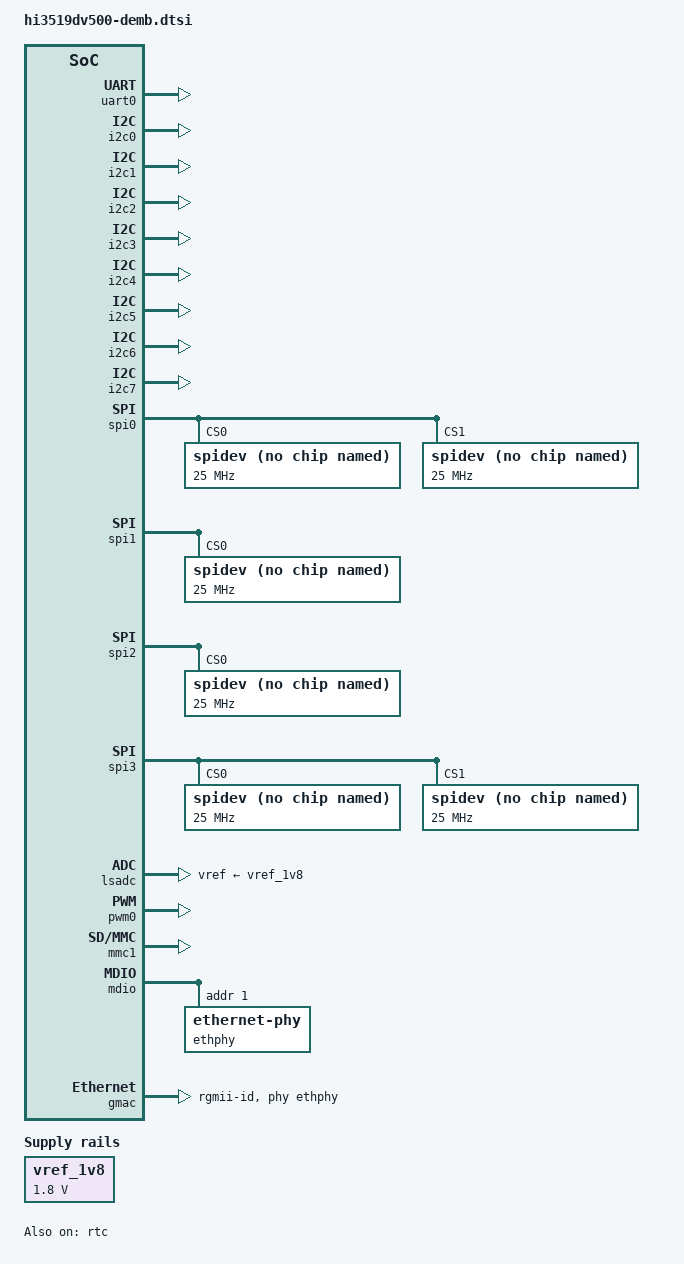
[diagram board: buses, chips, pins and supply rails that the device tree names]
// SPDX-License-Identifier: GPL-2.0-only OR BSD-2-Clause

/*
 * Common part of the HiSilicon Hi3519DV500 DEMB evaluation boards.
 * The board carries the console UART, the RTC, the eight I2C buses,
 * the GPIO banks, the four SPI buses with their native chip selects,
 * the LSADC, the first PWM block, the SD card slot
 * and the RGMII Ethernet port with its PHY on the MDIO bus.  It
 * boots from either the SPI NOR flash or the eMMC, which share the
 * serial flash pads, so the boot variant dts files enable exactly
 * one of the two devices.
 */

#include "hi3519dv500.dtsi"

/ {
	vref_1v8: regulator-1v8 {
		compatible = "regulator-fixed";
		regulator-name = "lsadc-vref";
		regulator-min-microvolt = <1800000>;
		regulator-max-microvolt = <1800000>;
	};
};

&uart0 {
	status = "okay";
};

&rtc {
	status = "okay";
};

&i2c0 {
	status = "okay";
};

&i2c1 {
	status = "okay";
};

&i2c2 {
	status = "okay";
};

&i2c3 {
	status = "okay";
};

&i2c4 {
	status = "okay";
};

&i2c5 {
	status = "okay";
};

&i2c6 {
	status = "okay";
};

&i2c7 {
	status = "okay";
};

&gpio0 {
	status = "okay";
};

&gpio1 {
	status = "okay";
};

&gpio2 {
	status = "okay";
};

&gpio3 {
	status = "okay";
};

&gpio4 {
	status = "okay";
};

&gpio5 {
	status = "okay";
};

&gpio6 {
	status = "okay";
};

&gpio7 {
	status = "okay";
};

&gpio8 {
	status = "okay";
};

&gpio9 {
	status = "okay";
};

&gpio10 {
	status = "okay";
};

&gpio11 {
	status = "okay";
};

&gpio12 {
	status = "okay";
};

&gpio13 {
	status = "okay";
};

&gpio14 {
	status = "okay";
};

&spi0 {
	status = "okay";

	spidev@0 {
		compatible = "rohm,dh2228fv";
		reg = <0>;
		spi-max-frequency = <25000000>;
	};

	spidev@1 {
		compatible = "rohm,dh2228fv";
		reg = <1>;
		spi-max-frequency = <25000000>;
	};
};

&spi1 {
	status = "okay";

	spidev@0 {
		compatible = "rohm,dh2228fv";
		reg = <0>;
		spi-max-frequency = <25000000>;
	};
};

&spi2 {
	status = "okay";

	spidev@0 {
		compatible = "rohm,dh2228fv";
		reg = <0>;
		spi-max-frequency = <25000000>;
	};
};

&spi3 {
	status = "okay";

	spidev@0 {
		compatible = "rohm,dh2228fv";
		reg = <0>;
		spi-max-frequency = <25000000>;
	};

	spidev@1 {
		compatible = "rohm,dh2228fv";
		reg = <1>;
		spi-max-frequency = <25000000>;
	};
};

&lsadc {
	vref-supply = <&vref_1v8>;
	status = "okay";
};

&pwm0 {
	status = "okay";
};

&mmc1 {
	status = "okay";
};

&mdio {
	status = "okay";

	ethphy: ethernet-phy@1 {
		reg = <1>;
	};
};

&gmac {
	phy-handle = <&ethphy>;
	phy-mode = "rgmii-id";
	status = "okay";
};
